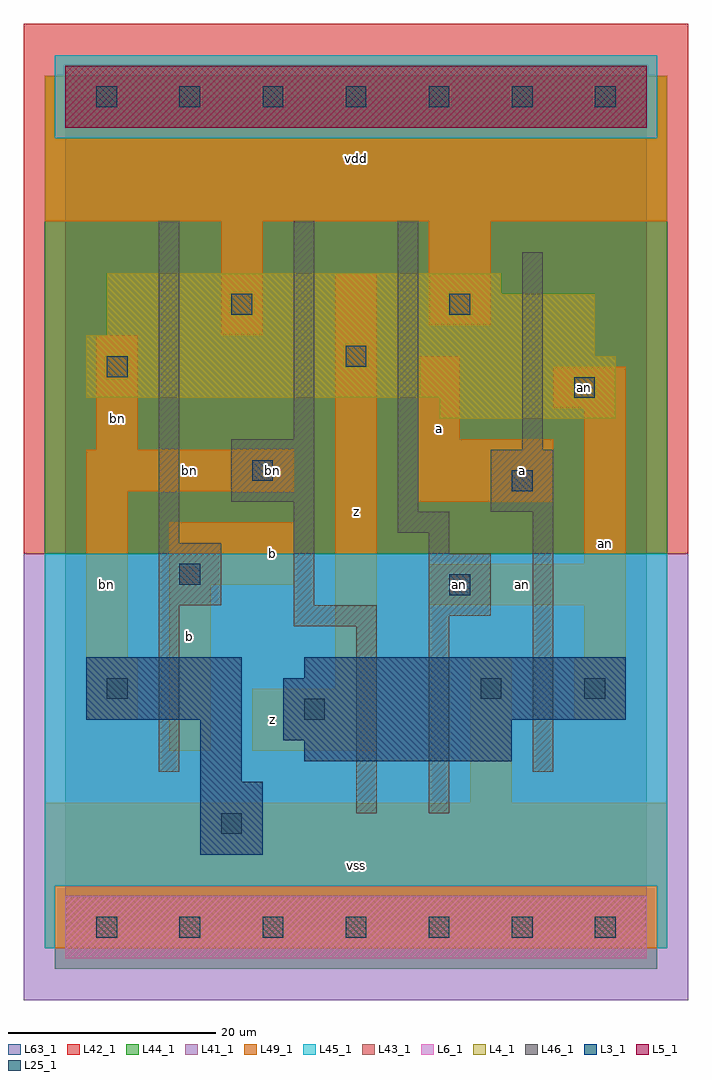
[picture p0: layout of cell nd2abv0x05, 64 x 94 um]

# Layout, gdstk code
import gdstk
lib = gdstk.Library(unit=1e-6, precision=1e-09)
def R(c, l, rs):  # rectangles x0, y0, x1, y1
    for r in rs: c.add(gdstk.rectangle(r[:2], r[2:], *l))
def A(c, l, x, y, w, h, nx, ny, dx, dy):  # array of equal rectangles
    R(c, l, [(x+i*dx, y+j*dy, x+i*dx+w, y+j*dy+h) for i in range(nx) for j in range(ny)])
L3_1 = (3, 1)
L4_1 = (4, 1)
L5_1 = (5, 1)
L6_1 = (6, 1)
L25_1 = (25, 1)
L41_1 = (41, 1)
L42_1 = (42, 1)
L43_1 = (43, 1)
L44_1 = (44, 1)
L45_1 = (45, 1)
L46_1 = (46, 1)
L49_1 = (49, 1)
L63_1 = (63, 1)

nd2abv0x05 = lib.new_cell('nd2abv0x05')
R(nd2abv0x05, L3_1, [(13,7,19,14), (13,14,17,20), (23,16,43,18), (21,18,43,20), (2,20,17,26), (21,20,54,24), (23,24,54,26)])
R(nd2abv0x05, L4_1, [(36,49,53,51), (2,51,53,55), (2,55,51,57), (4,57,51,61), (4,61,42,63)])
R(nd2abv0x05, L5_1, [(0,77,56,83)])
R(nd2abv0x05, L6_1, [(0,-3,56,3), (0,-3,56,3)])
A(nd2abv0x05, L25_1, 3, -1, 2, 2, 7, 2, 8, 80)
R(nd2abv0x05, L25_1, [(15,9,17,11), (23,20,25,22), (4,22,6,24), (40,22,42,24), (50,22,52,24), (37,32,39,34), (11,33,13,35), (43,42,45,44), (18,43,20,45), (49,51,51,53), (4,53,6,55), (27,54,29,56), (16,59,18,61), (37,59,39,61)])
R(nd2abv0x05, L41_1, [(-4,-7,60,36)])
R(nd2abv0x05, L42_1, [(-4,36,60,87)])
R(nd2abv0x05, L43_1, [(0,-3,56,3), (13,7,19,14), (13,14,17,20), (23,16,43,18), (21,18,43,20), (2,20,17,26), (21,20,54,24), (23,24,54,26), (36,49,53,51), (2,51,53,55), (2,55,51,57), (4,57,51,61), (4,61,42,63), (0,77,56,83)])
R(nd2abv0x05, L44_1, [(-1,-4,57,4), (-2,36,58,76), (-2,76,-1,82), (57,76,58,82)])
R(nd2abv0x05, L45_1, [(-2,-2,-1,4), (57,-2,58,4), (-2,4,58,36), (-1,76,57,84)])
R(nd2abv0x05, L46_1, [(28,11,30,29), (35,11,37,30), (9,15,11,31), (45,15,47,40), (22,29,30,31), (35,30,41,36), (9,31,15,37), (22,31,24,41), (35,36,37,38), (9,37,11,68), (32,38,37,40), (32,40,34,68), (41,40,47,46), (16,41,24,47), (44,46,46,65), (22,47,24,68)])
R(nd2abv0x05, L49_1, [(-2,-2,58,12), (39,12,43,26), (10,17,14,33), (18,17,30,23), (2,20,7,26), (49,20,54,26), (26,23,30,63), (2,26,6,42), (50,26,54,31), (35,31,54,35), (10,33,22,39), (50,35,54,50), (34,41,47,47), (2,42,22,46), (3,46,7,57), (34,47,38,55), (47,50,54,54), (15,57,19,68), (35,58,41,68), (-2,68,58,82)])
R(nd2abv0x05, L63_1, [(0,0,56,80)])
nd2abv0x05.add(gdstk.Label('bn', (20,44), layer=49, texttype=1))
nd2abv0x05.add(gdstk.Label('an', (38,33), layer=49, texttype=1))
nd2abv0x05.add(gdstk.Label('bn', (5,49), layer=49, texttype=1))
nd2abv0x05.add(gdstk.Label('bn', (4,33), layer=49, texttype=1))
nd2abv0x05.add(gdstk.Label('z', (20,20), layer=49, texttype=1))
nd2abv0x05.add(gdstk.Label('b', (12,28), layer=49, texttype=1))
nd2abv0x05.add(gdstk.Label('b', (20,36), layer=49, texttype=1))
nd2abv0x05.add(gdstk.Label('bn', (12,44), layer=49, texttype=1))
nd2abv0x05.add(gdstk.Label('vss', (28,6), layer=49, texttype=1))
nd2abv0x05.add(gdstk.Label('z', (28,40), layer=49, texttype=1))
nd2abv0x05.add(gdstk.Label('a', (36,48), layer=49, texttype=1))
nd2abv0x05.add(gdstk.Label('vdd', (28,74), layer=49, texttype=1))
nd2abv0x05.add(gdstk.Label('an', (44,33), layer=49, texttype=1))
nd2abv0x05.add(gdstk.Label('a', (44,44), layer=49, texttype=1))
nd2abv0x05.add(gdstk.Label('an', (52,37), layer=49, texttype=1))
nd2abv0x05.add(gdstk.Label('an', (50,52), layer=49, texttype=1))

lib.write_gds('nd2abv0x05.gds')
